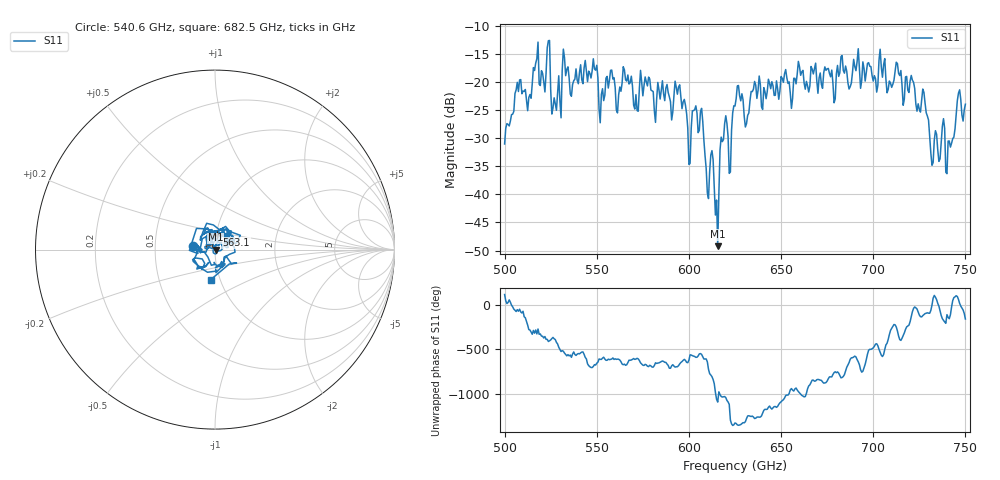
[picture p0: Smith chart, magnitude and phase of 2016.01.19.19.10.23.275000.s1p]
!Created with skrf (http://scikit-rf.org).
# GHz S RI R 50.0
!freq ReS11 ImS11
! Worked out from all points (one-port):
!   401 points, 500 GHz to 750 GHz, reference 50 ohm
!   lowest |S11| = -49.2 dB at 615.6 GHz (marker M1), VSWR 1.01, Z = 50.3 - j0.0618 ohm
!   |S11| at or under -10 dB: start of sweep to end of sweep
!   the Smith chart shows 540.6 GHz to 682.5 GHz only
!   S11 on the Smith chart (normalised r, x): 540.6 GHz: 0.78, +0.03; 563.1 GHz: 1.01, +0.17; 682.5 GHz: 0.90, -0.31
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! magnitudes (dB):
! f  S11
! 500 GHz  -31.0
! 507.5 GHz  -21.6
! 513.1 GHz  -22.7
! 516.9 GHz  -16.6
! 523.8 GHz  -12.6
! 526.9 GHz  -22.8
! 531.2 GHz  -17.9
! 540.6 GHz  -18.2
! 562.5 GHz  -20.8
! 563.1 GHz  -21.6
! 593.8 GHz  -22.1
! 600 GHz  -34.7
! 606.9 GHz  -24.6
! 610 GHz  -39.8
! 612.5 GHz  -32.2
! 615.6 GHz  -49.2
! 618.8 GHz  -30.2
! 622.5 GHz  -36.0
! 625 GHz  -24.2
! 656.2 GHz  -22.8
! 682.5 GHz  -15.4
! 687.5 GHz  -20.8
! 718.8 GHz  -21.4
! 728.1 GHz  -23.7
! 731.9 GHz  -34.8
! 740.6 GHz  -30.5
! 746.2 GHz  -21.9
! 750 GHz  -23.9
